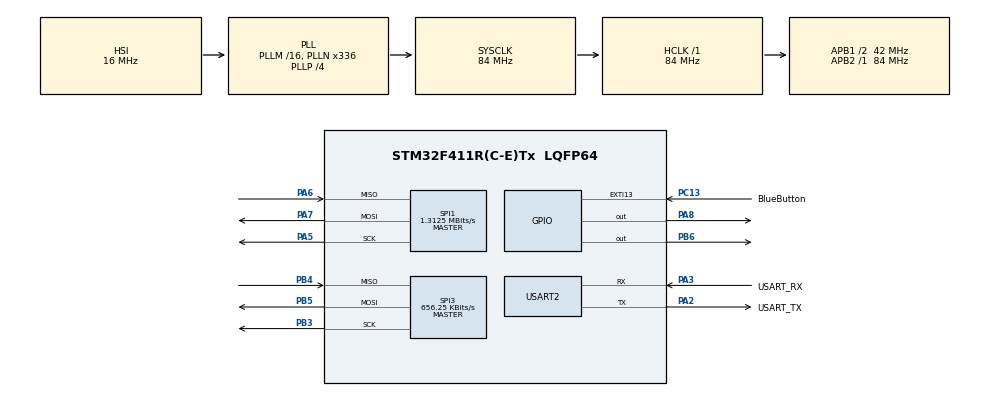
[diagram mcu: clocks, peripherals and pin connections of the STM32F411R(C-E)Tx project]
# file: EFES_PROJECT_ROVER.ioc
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Mcu.Family=STM32F4
Mcu.Name=STM32F411R(C-E)Tx
Mcu.Package=LQFP64
NVIC.EXTI15_10_IRQn=true\:0\:0\:false\:false\:true\:true\:true\:true
NVIC.PriorityGroup=NVIC_PRIORITYGROUP_0
PA13.GPIO_Label=TMS
PA13.Mode=Serial_Wire
PA13.Signal=SYS_JTMS-SWDIO
PA14.GPIO_Label=TCK
PA14.Mode=Serial_Wire
PA14.Signal=SYS_JTCK-SWCLK
PA2.GPIO_Label=USART_TX
PA2.Mode=Asynchronous
PA2.Signal=USART2_TX
PA3.GPIO_Label=USART_RX
PA3.Mode=Asynchronous
PA3.Signal=USART2_RX
PA5.Mode=Full_Duplex_Master
PA5.Signal=SPI1_SCK
PA6.Mode=Full_Duplex_Master
PA6.Signal=SPI1_MISO
PA7.Mode=Full_Duplex_Master
PA7.Signal=SPI1_MOSI
PA8.Signal=GPIO_Output
PB3.Mode=Full_Duplex_Master
PB3.Signal=SPI3_SCK
PB4.Mode=Full_Duplex_Master
PB4.Signal=SPI3_MISO
PB5.Mode=Full_Duplex_Master
PB5.Signal=SPI3_MOSI
PB6.Signal=GPIO_Output
PC13-ANTI_TAMP.GPIO_Label=BlueButton
PC13-ANTI_TAMP.Signal=GPXTI13
PC14-OSC32_IN.Mode=LSE-External-Oscillator
PC14-OSC32_IN.Signal=RCC_OSC32_IN
PC15-OSC32_OUT.Mode=LSE-External-Oscillator
PC15-OSC32_OUT.Signal=RCC_OSC32_OUT
PH0\ -\ OSC_IN.Mode=HSE-External-Clock-Source
PH0\ -\ OSC_IN.Signal=RCC_OSC_IN
PH1\ -\ OSC_OUT.Mode=HSE-External-Clock-Source
PH1\ -\ OSC_OUT.Signal=RCC_OSC_OUT
ProjectManager.HeapSize=0x200
ProjectManager.StackSize=0x400
ProjectManager.TargetToolchain=STM32CubeIDE
RCC.48MHZClocksFreq_Value=84000000
RCC.AHBFreq_Value=84000000
RCC.APB1CLKDivider=RCC_HCLK_DIV2
RCC.APB1Freq_Value=42000000
RCC.APB1TimFreq_Value=84000000
RCC.APB2Freq_Value=84000000
RCC.APB2TimFreq_Value=84000000
RCC.CortexFreq_Value=84000000
RCC.FLatency-AdvancedSettings=FLASH_LATENCY_2
RCC.HCLKFreq_Value=84000000
RCC.HSE_VALUE=8000000
RCC.HSI_VALUE=16000000
RCC.PLLN=336
RCC.PLLP=RCC_PLLP_DIV4
RCC.SYSCLKFreq_VALUE=84000000
RCC.SYSCLKSource=RCC_SYSCLKSOURCE_PLLCLK
RCC.VCOOutputFreq_Value=336000000
SPI1.BaudRatePrescaler=SPI_BAUDRATEPRESCALER_64
SPI1.CLKPhase=SPI_PHASE_2EDGE
SPI1.CLKPolarity=SPI_POLARITY_HIGH
SPI1.CalculateBaudRate=1.3125 MBits/s
SPI1.Direction=SPI_DIRECTION_2LINES
SPI1.Mode=SPI_MODE_MASTER
SPI1.VirtualType=VM_MASTER
SPI3.BaudRatePrescaler=SPI_BAUDRATEPRESCALER_64
SPI3.CalculateBaudRate=656.25 KBits/s
SPI3.Direction=SPI_DIRECTION_2LINES
SPI3.Mode=SPI_MODE_MASTER
SPI3.VirtualType=VM_MASTER
USART2.VirtualMode=VM_ASYNC
board=NUCLEO-F411RE

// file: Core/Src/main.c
/* USER CODE BEGIN Header */
/**
  ******************************************************************************
  * @file           : main.c
  * @brief          : Main program body
  ******************************************************************************
  * @attention
  *
  * Copyright (c) 2024 STMicroelectronics.
  * All rights reserved.
  *
  * This software is licensed under terms that can be found in the LICENSE file
  * in the root directory of this software component.
  * If no LICENSE file comes with this software, it is provided AS-IS.
  *
  ******************************************************************************
  */
/* USER CODE END Header */
#include "main.h"

/* USER CODE BEGIN Includes */
#include <stdio.h>
#include <string.h>
/* USER CODE END Includes */

SPI_HandleTypeDef hspi1;
SPI_HandleTypeDef hspi3;

UART_HandleTypeDef huart2;

/* USER CODE BEGIN PV */

//DE1 instructions
const uint8_t DISTANCE_REQUEST		= 0x2A;	//42
const uint8_t LIGHT_REQUEST			= 0x54;	//84

//W25Q16JV instructions
const uint8_t MEM_WRITE_ENABLE 		= 0x06;
const uint8_t MEM_WRITE_DISABLE 	= 0x04;
const uint8_t MEM_READ_DATA	 		= 0x03;
const uint8_t MEM_PAGE_WRITE		= 0x02;
const uint8_t MEM_READ_STATUS_REG1	= 0x05;
const uint8_t MEM_READ_STATUS_REG2	= 0x35;
const uint8_t MEM_READ_STATUS_REG3	= 0x15;
const uint8_t MEM_CHIP_ERASE 		= 0x60;
const uint8_t MEM_STAT_REG_1_WRITE  = 0x01;
const uint8_t MEM_STAT_REG_2_WRITE  = 0x31;

uint8_t pressed;

/* USER CODE END PV */

void SystemClock_Config(void);
static void MX_GPIO_Init(void);
static void MX_USART2_UART_Init(void);
static void MX_SPI1_Init(void);
static void MX_SPI3_Init(void);
/* USER CODE BEGIN PFP */
void WaitBusyMem(void);

/* USER CODE END PFP */

int main(void)
{

  /* USER CODE BEGIN 1 */
	char uart_buffer[50];
	int uart_buffer_lenght;
	uint32_t spi_buf;
	uint8_t dataRq;
	uint32_t addr, addr_read, masked_addr;
	uint64_t write_buffer;
	uint32_t read_buffer;
	uint32_t data_buffer;
	uint8_t new_dist1, new_light1, new_dist2, new_light2;
	uint8_t read_light1, read_light2;
	uint8_t read_dist1, read_dist2;
	int data_stored, i;
	uint16_t status_write;
	uint8_t from_mem;
  /* USER CODE END 1 */

  /* MCU Configuration--------------------------------------------------------*/

  /* Reset of all peripherals, Initializes the Flash interface and the Systick. */
  HAL_Init();

  /* Configure the system clock */
  SystemClock_Config();

  /* Initialize all configured peripherals */
  MX_GPIO_Init();
  MX_USART2_UART_Init();
  MX_SPI1_Init();
  MX_SPI3_Init();
  /* USER CODE BEGIN 2 */
  //Chip select line of memory is high as default
  	HAL_GPIO_WritePin(GPIOA, GPIO_PIN_8, GPIO_PIN_SET);
  	  //Chip Select of DE1 default low
  	HAL_GPIO_WritePin(GPIOB, GPIO_PIN_6, GPIO_PIN_RESET);

  	//reset the memory
  	HAL_GPIO_WritePin(GPIOA, GPIO_PIN_8, GPIO_PIN_RESET);
  	HAL_SPI_Transmit(&hspi3, (uint8_t *)&MEM_CHIP_ERASE, 1, 100); //should return HAL_OK
  	HAL_GPIO_WritePin(GPIOA, GPIO_PIN_8, GPIO_PIN_SET);
  	//wait for reset
  	WaitBusyMem();

  	//resetting flags for status regs
    status_write = 0;
    status_write = status_write | MEM_STAT_REG_1_WRITE;

    HAL_GPIO_WritePin(GPIOA, GPIO_PIN_8, GPIO_PIN_RESET);
    HAL_SPI_Transmit(&hspi3, (uint8_t *)&MEM_WRITE_ENABLE, 1, 100); //should return HAL_OK
    HAL_GPIO_WritePin(GPIOA, GPIO_PIN_8, GPIO_PIN_SET);

    HAL_GPIO_WritePin(GPIOA, GPIO_PIN_8, GPIO_PIN_RESET);
    HAL_SPI_Transmit(&hspi3, (uint8_t *)&status_write, 2, 100); //should return HAL_OK
    HAL_GPIO_WritePin(GPIOA, GPIO_PIN_8, GPIO_PIN_SET);
    WaitBusyMem();

    //PROVA

	  masked_addr = 0x00FFFFFF & 65536; //qui non dovrebbe servire, ma lo facciamo lo stesso
	  read_buffer = 0;
	  read_buffer = read_buffer | ((uint32_t) masked_addr) << 8;
	  read_buffer = read_buffer | ((uint32_t) MEM_READ_DATA);
  //read data
	  HAL_GPIO_WritePin(GPIOA, GPIO_PIN_8, GPIO_PIN_RESET);
	  HAL_SPI_Transmit(&hspi3, (uint8_t *)&read_buffer, 4, 100);
	  HAL_SPI_Receive(&hspi3, (uint8_t*)&spi_buf, 4, 100);
	  HAL_GPIO_WritePin(GPIOA, GPIO_PIN_8, GPIO_PIN_SET);

  	//resetting address
  	addr = 256 *257;		//per qualche motivo sembra che il priumo blocco di memoria sia inaccesibile
  	data_stored = 0;
  	pressed = 0;
  /* USER CODE END 2 */

  /* Infinite loop */
	while (1)
	{
		 if(pressed == 1){		//PRESSED BLUEBUTTON
				  //inizio stampa
				  uart_buffer_lenght = sprintf(uart_buffer, "PRINTING MEMORY CONTENT\r\n");
				  HAL_UART_Transmit(&huart2, (uint8_t *) uart_buffer, uart_buffer_lenght, 100);
				  addr_read = 256*257;
				  for (i = 0; i < data_stored; i++) {
					  //prepare read_buffer with address and constant

					  HAL_GPIO_WritePin(GPIOA, GPIO_PIN_8, GPIO_PIN_RESET);
					  HAL_SPI_Transmit(&hspi3, (uint8_t *)&MEM_READ_STATUS_REG1, 1, 100);
					  HAL_SPI_Receive(&hspi3, (uint8_t*)&from_mem, 1, 100);
					  HAL_GPIO_WritePin(GPIOA, GPIO_PIN_8, GPIO_PIN_SET);

					  masked_addr = 0x00FFFFFF & addr_read; //qui non dovrebbe servire, ma lo facciamo lo stesso
					  read_buffer = 0;
					  read_buffer = read_buffer | ((uint32_t) masked_addr) << 8;
					  read_buffer = read_buffer | ((uint32_t) MEM_READ_DATA);
					  spi_buf = 0;

					  HAL_GPIO_WritePin(GPIOA, GPIO_PIN_8, GPIO_PIN_RESET);
					  HAL_SPI_Transmit(&hspi3, (uint8_t *)&read_buffer, 4, 100);
					  HAL_SPI_Receive(&hspi3, (uint8_t*)&spi_buf, 4, 100);
					  HAL_GPIO_WritePin(GPIOA, GPIO_PIN_8, GPIO_PIN_SET);
					  WaitBusyMem();

					  //unchaining data

					  read_light1 = (spi_buf>>24) & 0xFF;
					  read_dist1 = (spi_buf>>16) & 0xFF;
					  read_light2 = (spi_buf>>8) & 0xFF;
					  read_dist2 = (spi_buf) & 0xFF;

					  uart_buffer_lenght = sprintf(uart_buffer, "Light: %x; Distance: %x\r\n", (unsigned int)read_light1, (unsigned int)read_dist1);
					  HAL_UART_Transmit(&huart2, (uint8_t *) uart_buffer, uart_buffer_lenght, 100);
					  uart_buffer_lenght = sprintf(uart_buffer, "Light: %x; Distance: %x\r\n", (unsigned int)read_light2, (unsigned int)read_dist2);
					  HAL_UART_Transmit(&huart2, (uint8_t *) uart_buffer, uart_buffer_lenght, 100);

					  addr_read+=256;
					  HAL_Delay(10);

				}
				  pressed = 0;
			  }

			  //requesting new light measure
			  dataRq=LIGHT_REQUEST;

			  HAL_GPIO_WritePin(GPIOB, GPIO_PIN_6, GPIO_PIN_SET);
			  HAL_SPI_Transmit(&hspi1, &dataRq, 1, HAL_MAX_DELAY);
			  HAL_GPIO_WritePin(GPIOB, GPIO_PIN_6, GPIO_PIN_RESET);

			  HAL_GPIO_WritePin(GPIOB, GPIO_PIN_6, GPIO_PIN_SET);
			  HAL_SPI_Receive(&hspi1, &new_light1, 1, HAL_MAX_DELAY);
			  HAL_GPIO_WritePin(GPIOB, GPIO_PIN_6, GPIO_PIN_RESET);

			  //requesting new dist measure
			  dataRq=DISTANCE_REQUEST;

			  HAL_GPIO_WritePin(GPIOB, GPIO_PIN_6, GPIO_PIN_SET);
			  HAL_SPI_Transmit(&hspi1, &dataRq, 1, HAL_MAX_DELAY);
			  HAL_GPIO_WritePin(GPIOB, GPIO_PIN_6, GPIO_PIN_RESET);

			  HAL_GPIO_WritePin(GPIOB, GPIO_PIN_6, GPIO_PIN_SET);
			  HAL_SPI_Receive(&hspi1, &new_dist1, 1, HAL_MAX_DELAY);
			  HAL_GPIO_WritePin(GPIOB, GPIO_PIN_6, GPIO_PIN_RESET);

			  HAL_Delay(500);

			  dataRq=LIGHT_REQUEST;

			  HAL_GPIO_WritePin(GPIOB, GPIO_PIN_6, GPIO_PIN_SET);
			  HAL_SPI_Transmit(&hspi1, &dataRq, 1, HAL_MAX_DELAY);
			  HAL_GPIO_WritePin(GPIOB, GPIO_PIN_6, GPIO_PIN_RESET);

			  HAL_GPIO_WritePin(GPIOB, GPIO_PIN_6, GPIO_PIN_SET);
			  HAL_SPI_Receive(&hspi1, &new_light2, 1, HAL_MAX_DELAY);
			  HAL_GPIO_WritePin(GPIOB, GPIO_PIN_6, GPIO_PIN_RESET);

			  //requesting new dist measure
			  dataRq=DISTANCE_REQUEST;

			  HAL_GPIO_WritePin(GPIOB, GPIO_PIN_6, GPIO_PIN_SET);
			  HAL_SPI_Transmit(&hspi1, &dataRq, 1, HAL_MAX_DELAY);
			  HAL_GPIO_WritePin(GPIOB, GPIO_PIN_6, GPIO_PIN_RESET);

			  HAL_GPIO_WritePin(GPIOB, GPIO_PIN_6, GPIO_PIN_SET);
			  HAL_SPI_Receive(&hspi1, &new_dist2, 1, HAL_MAX_DELAY);
			  HAL_GPIO_WritePin(GPIOB, GPIO_PIN_6, GPIO_PIN_RESET);

			  //chaining data into a 32 bits var
			  data_buffer = 0;
			  data_buffer = data_buffer | ((uint32_t)new_light1) << 24;
			  data_buffer = data_buffer | ((uint32_t)new_dist1) << 16;
			  data_buffer = data_buffer | ((uint32_t)new_light2) << 8;
			  data_buffer = data_buffer | ((uint32_t)new_dist2);

			  //writing data to memory
			  //						8 bits        24 bits   32 bits
			  //creating data block: MEM_PAGE_WRITE + address + data

			  masked_addr = 0x00FFFFFF & addr;
			  write_buffer = 0;
			  write_buffer = ((uint64_t) data_buffer) << 32;
			  write_buffer = write_buffer | ((uint64_t) masked_addr) << 8;
			  write_buffer = write_buffer | ((uint64_t) MEM_PAGE_WRITE);

			  //send write enable
			  HAL_GPIO_WritePin(GPIOA, GPIO_PIN_8, GPIO_PIN_RESET);
			  HAL_SPI_Transmit(&hspi3, (uint8_t *)&MEM_WRITE_ENABLE, 1, 100); //should return HAL_OK
			  HAL_GPIO_WritePin(GPIOA, GPIO_PIN_8, GPIO_PIN_SET);

			  //send data
			  HAL_GPIO_WritePin(GPIOA, GPIO_PIN_8, GPIO_PIN_RESET);
			  HAL_SPI_Transmit(&hspi3, (uint8_t *)&write_buffer, 8, 100);
			  HAL_GPIO_WritePin(GPIOA, GPIO_PIN_8, GPIO_PIN_SET);

			  WaitBusyMem();

			  //PROVA

//			  masked_addr = 0x00FFFFFF & addr; //qui non dovrebbe servire, ma lo facciamo lo stesso
//			  read_buffer = 0;
//			  read_buffer = read_buffer | ((uint32_t) masked_addr) << 8;
//			  read_buffer = read_buffer | ((uint32_t) MEM_READ_DATA);
//		  //read data
//			  HAL_GPIO_WritePin(GPIOA, GPIO_PIN_8, GPIO_PIN_RESET);
//			  HAL_SPI_Transmit(&hspi3, (uint8_t *)&read_buffer, 4, 100);
//			  HAL_SPI_Receive(&hspi3, (uint8_t*)&spi_buf, 4, 100);
//			  HAL_GPIO_WritePin(GPIOA, GPIO_PIN_8, GPIO_PIN_SET);
//
//			  //update address

			  data_stored++;
			  addr+=256;
			  HAL_Delay(500);	// procede con un nuovo ciclo ogni 200 ms

	}
}

void WaitBusyMem(void){
	uint8_t  from_mem;
	do{
		  HAL_GPIO_WritePin(GPIOA, GPIO_PIN_8, GPIO_PIN_RESET);
		  HAL_SPI_Transmit(&hspi3, (uint8_t *)&MEM_READ_STATUS_REG1, 1, 100);
		  HAL_SPI_Receive(&hspi3, (uint8_t*)&from_mem, 1, 100);
		  HAL_GPIO_WritePin(GPIOA, GPIO_PIN_8, GPIO_PIN_SET);
		  HAL_Delay(5);
	  }while((from_mem & 0x01) != 0); //busy is the rightmost bit of status reg

	return;
}

void HAL_GPIO_EXTI_Callback(uint16_t GPIO_Pin){

	if (GPIO_Pin == GPIO_PIN_13 ) {
		pressed = 1;
	}
}

void SystemClock_Config(void)
{
  RCC_OscInitTypeDef RCC_OscInitStruct = {0};
  RCC_ClkInitTypeDef RCC_ClkInitStruct = {0};

  /** Configure the main internal regulator output voltage
  */
  __HAL_RCC_PWR_CLK_ENABLE();
  __HAL_PWR_VOLTAGESCALING_CONFIG(PWR_REGULATOR_VOLTAGE_SCALE1);

  /** Initializes the RCC Oscillators according to the specified parameters
  * in the RCC_OscInitTypeDef structure.
  */
  RCC_OscInitStruct.OscillatorType = RCC_OSCILLATORTYPE_HSI;
  RCC_OscInitStruct.HSIState = RCC_HSI_ON;
  RCC_OscInitStruct.HSICalibrationValue = RCC_HSICALIBRATION_DEFAULT;
  RCC_OscInitStruct.PLL.PLLState = RCC_PLL_ON;
  RCC_OscInitStruct.PLL.PLLSource = RCC_PLLSOURCE_HSI;
  RCC_OscInitStruct.PLL.PLLM = 16;
  RCC_OscInitStruct.PLL.PLLN = 336;
  RCC_OscInitStruct.PLL.PLLP = RCC_PLLP_DIV4;
  RCC_OscInitStruct.PLL.PLLQ = 4;
  if (HAL_RCC_OscConfig(&RCC_OscInitStruct) != HAL_OK)
  {
    Error_Handler();
  }

  /** Initializes the CPU, AHB and APB buses clocks
  */
  RCC_ClkInitStruct.ClockType = RCC_CLOCKTYPE_HCLK|RCC_CLOCKTYPE_SYSCLK
                              |RCC_CLOCKTYPE_PCLK1|RCC_CLOCKTYPE_PCLK2;
  RCC_ClkInitStruct.SYSCLKSource = RCC_SYSCLKSOURCE_PLLCLK;
  RCC_ClkInitStruct.AHBCLKDivider = RCC_SYSCLK_DIV1;
  RCC_ClkInitStruct.APB1CLKDivider = RCC_HCLK_DIV2;
  RCC_ClkInitStruct.APB2CLKDivider = RCC_HCLK_DIV1;

  if (HAL_RCC_ClockConfig(&RCC_ClkInitStruct, FLASH_LATENCY_2) != HAL_OK)
  {
    Error_Handler();
  }
}

static void MX_SPI1_Init(void)
{

  /* SPI1 parameter configuration*/
  hspi1.Instance = SPI1;
  hspi1.Init.Mode = SPI_MODE_MASTER;
  hspi1.Init.Direction = SPI_DIRECTION_2LINES;
  hspi1.Init.DataSize = SPI_DATASIZE_8BIT;
  hspi1.Init.CLKPolarity = SPI_POLARITY_HIGH;
  hspi1.Init.CLKPhase = SPI_PHASE_2EDGE;
  hspi1.Init.NSS = SPI_NSS_SOFT;
  hspi1.Init.BaudRatePrescaler = SPI_BAUDRATEPRESCALER_64;
  hspi1.Init.FirstBit = SPI_FIRSTBIT_MSB;
  hspi1.Init.TIMode = SPI_TIMODE_DISABLE;
  hspi1.Init.CRCCalculation = SPI_CRCCALCULATION_DISABLE;
  hspi1.Init.CRCPolynomial = 10;
  if (HAL_SPI_Init(&hspi1) != HAL_OK)
  {
    Error_Handler();
  }

}

static void MX_SPI3_Init(void)
{

  /* SPI3 parameter configuration*/
  hspi3.Instance = SPI3;
  hspi3.Init.Mode = SPI_MODE_MASTER;
  hspi3.Init.Direction = SPI_DIRECTION_2LINES;
  hspi3.Init.DataSize = SPI_DATASIZE_8BIT;
  hspi3.Init.CLKPolarity = SPI_POLARITY_LOW;
  hspi3.Init.CLKPhase = SPI_PHASE_1EDGE;
  hspi3.Init.NSS = SPI_NSS_SOFT;
  hspi3.Init.BaudRatePrescaler = SPI_BAUDRATEPRESCALER_64;
  hspi3.Init.FirstBit = SPI_FIRSTBIT_MSB;
  hspi3.Init.TIMode = SPI_TIMODE_DISABLE;
  hspi3.Init.CRCCalculation = SPI_CRCCALCULATION_DISABLE;
  hspi3.Init.CRCPolynomial = 10;
  if (HAL_SPI_Init(&hspi3) != HAL_OK)
  {
    Error_Handler();
  }

}

static void MX_USART2_UART_Init(void)
{

  huart2.Instance = USART2;
  huart2.Init.BaudRate = 115200;
  huart2.Init.WordLength = UART_WORDLENGTH_8B;
  huart2.Init.StopBits = UART_STOPBITS_1;
  huart2.Init.Parity = UART_PARITY_NONE;
  huart2.Init.Mode = UART_MODE_TX_RX;
  huart2.Init.HwFlowCtl = UART_HWCONTROL_NONE;
  huart2.Init.OverSampling = UART_OVERSAMPLING_16;
  if (HAL_UART_Init(&huart2) != HAL_OK)
  {
    Error_Handler();
  }

}

static void MX_GPIO_Init(void)
{
  GPIO_InitTypeDef GPIO_InitStruct = {0};

  /* GPIO Ports Clock Enable */
  __HAL_RCC_GPIOC_CLK_ENABLE();
  __HAL_RCC_GPIOH_CLK_ENABLE();
  __HAL_RCC_GPIOA_CLK_ENABLE();
  __HAL_RCC_GPIOB_CLK_ENABLE();

  /*Configure GPIO pin Output Level */
  HAL_GPIO_WritePin(GPIOA, GPIO_PIN_8, GPIO_PIN_RESET);

  /*Configure GPIO pin Output Level */
  HAL_GPIO_WritePin(GPIOB, GPIO_PIN_6, GPIO_PIN_RESET);

  /*Configure GPIO pin : BlueButton_Pin */
  GPIO_InitStruct.Pin = BlueButton_Pin;
  GPIO_InitStruct.Mode = GPIO_MODE_IT_RISING;
  GPIO_InitStruct.Pull = GPIO_NOPULL;
  HAL_GPIO_Init(BlueButton_GPIO_Port, &GPIO_InitStruct);

  /*Configure GPIO pin : PA8 */
  GPIO_InitStruct.Pin = GPIO_PIN_8;
  GPIO_InitStruct.Mode = GPIO_MODE_OUTPUT_PP;
  GPIO_InitStruct.Pull = GPIO_NOPULL;
  GPIO_InitStruct.Speed = GPIO_SPEED_FREQ_LOW;
  HAL_GPIO_Init(GPIOA, &GPIO_InitStruct);

  /*Configure GPIO pin : PB6 */
  GPIO_InitStruct.Pin = GPIO_PIN_6;
  GPIO_InitStruct.Mode = GPIO_MODE_OUTPUT_PP;
  GPIO_InitStruct.Pull = GPIO_NOPULL;
  GPIO_InitStruct.Speed = GPIO_SPEED_FREQ_LOW;
  HAL_GPIO_Init(GPIOB, &GPIO_InitStruct);

  /* EXTI interrupt init*/
  HAL_NVIC_SetPriority(EXTI15_10_IRQn, 0, 0);
  HAL_NVIC_EnableIRQ(EXTI15_10_IRQn);

}

void Error_Handler(void)
{
  __disable_irq();
  while (1)
  {
  }
}
